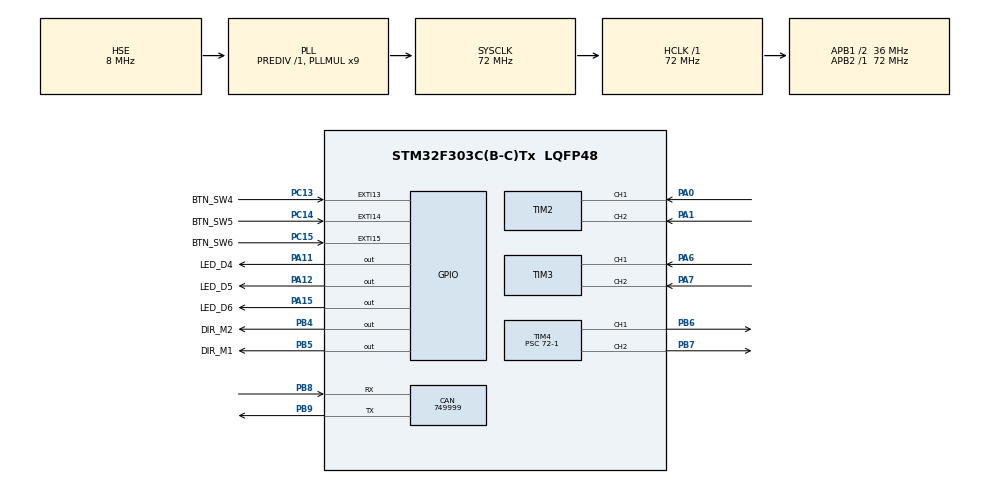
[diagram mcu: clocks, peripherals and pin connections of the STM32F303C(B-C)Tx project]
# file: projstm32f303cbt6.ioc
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CAN.CalculateBaudRate=749999
CAN.CalculateTimeBit=1333
CAN.CalculateTimeQuantum=444.44444444444446
FREERTOS.Mutexes01=mutex_enc,Dynamic,NULL
FREERTOS.Queues01=smsQ_CtrM,16,smsQ_buff_motor,0,Dynamic,NULL,NULL;smsQ_CtrLED,16,smsQ_buff_led,0,Dynamic,NULL,NULL;smsQ_EXTI,16,smsQ_buff_exti,0,Dynamic,NULL,NULL;smsQ_PIDVel,16,smsQ_buff_pid,0,Dynamic,NULL,NULL
FREERTOS.Tasks01=TaskEncoder,40,128,EncoderProcessor,Default,NULL,Dynamic,NULL,NULL;TaskRobotCtr,8,128,RobotCtr_Processor,Default,NULL,Dynamic,NULL,NULL;TaskLED,8,128,LED_Processor,Default,NULL,Dynamic,NULL,NULL;Task_PIDCtr,40,128,PIDCtr_Processor,Default,NULL,Dynamic,NULL,NULL;Task_BtnDebouce,8,128,BtnDebouce_Prc,Default,NULL,Dynamic,NULL,NULL;Task_CANPrs,8,128,CANPrs_Process,Default,NULL,Dynamic,NULL,NULL;Task_ReLog,8,128,ReLog_prs,Default,NULL,Dynamic,NULL,NULL
FREERTOS.configTOTAL_HEAP_SIZE=5500
Mcu.Family=STM32F3
Mcu.Name=STM32F303C(B-C)Tx
Mcu.Package=LQFP48
NVIC.EXTI15_10_IRQn=true\:11\:0\:true\:false\:true\:true\:true\:true\:true
NVIC.PriorityGroup=NVIC_PRIORITYGROUP_4
NVIC.TIM1_TRG_COM_TIM17_IRQn=true\:10\:0\:true\:false\:true\:false\:false\:true\:true
NVIC.TimeBase=TIM1_TRG_COM_TIM17_IRQn
NVIC.TimeBaseIP=TIM17
PA0.Signal=S_TIM2_CH1_ETR
PA1.Signal=S_TIM2_CH2
PA11.GPIO_Label=LED_D4
PA11.Signal=GPIO_Output
PA12.GPIO_Label=LED_D5
PA12.Signal=GPIO_Output
PA13.Mode=Serial_Wire
PA13.Signal=SYS_JTMS-SWDIO
PA14.Mode=Serial_Wire
PA14.Signal=SYS_JTCK-SWCLK
PA15.GPIO_Label=LED_D6
PA15.Signal=GPIO_Output
PA6.Signal=S_TIM3_CH1
PA7.Signal=S_TIM3_CH2
PB4.GPIO_Label=DIR_M2
PB4.Signal=GPIO_Output
PB5.GPIO_Label=DIR_M1
PB5.Signal=GPIO_Output
PB6.Signal=S_TIM4_CH1
PB7.Signal=S_TIM4_CH2
PB8.Mode=CAN_Activate
PB8.Signal=CAN_RX
PB9.Mode=CAN_Activate
PB9.Signal=CAN_TX
PC13.GPIO_Label=BTN_SW4
PC13.Signal=GPXTI13
PC14-OSC32_IN.GPIO_Label=BTN_SW5
PC14-OSC32_IN.Signal=GPXTI14
PC15-OSC32_OUT.GPIO_Label=BTN_SW6
PC15-OSC32_OUT.Signal=GPXTI15
PF0-OSC_IN.Mode=HSE-External-Oscillator
PF0-OSC_IN.Signal=RCC_OSC_IN
PF1-OSC_OUT.Mode=HSE-External-Oscillator
PF1-OSC_OUT.Signal=RCC_OSC_OUT
ProjectManager.HeapSize=0x200
ProjectManager.StackSize=0x400
ProjectManager.TargetToolchain=STM32CubeIDE
RCC.AHBFreq_Value=72000000
RCC.APB1CLKDivider=RCC_HCLK_DIV2
RCC.APB1Freq_Value=36000000
RCC.APB1TimFreq_Value=72000000
RCC.APB2Freq_Value=72000000
RCC.APB2TimFreq_Value=72000000
RCC.CortexFreq_Value=72000000
RCC.HCLKFreq_Value=72000000
RCC.HSE_VALUE=8000000
RCC.HSI_VALUE=8000000
RCC.LSE_VALUE=32768
RCC.PLLMUL=RCC_PLL_MUL9
RCC.PLLSourceVirtual=RCC_PLLSOURCE_HSE
RCC.SYSCLKFreq_VALUE=72000000
RCC.SYSCLKSourceVirtual=RCC_SYSCLKSOURCE_PLLCLK
RCC.USBFreq_Value=72000000
SH.S_TIM2_CH1_ETR.0=TIM2_CH1,Encoder_Interface
SH.S_TIM2_CH2.0=TIM2_CH2,Encoder_Interface
SH.S_TIM3_CH1.0=TIM3_CH1,Encoder_Interface
SH.S_TIM3_CH2.0=TIM3_CH2,Encoder_Interface
SH.S_TIM4_CH1.0=TIM4_CH1,PWM Generation1 CH1
SH.S_TIM4_CH2.0=TIM4_CH2,PWM Generation2 CH2
TIM4.Channel-PWM\ Generation1\ CH1=TIM_CHANNEL_1
TIM4.Channel-PWM\ Generation2\ CH2=TIM_CHANNEL_2
TIM4.Period=1000
TIM4.Prescaler=72-1
VP_FREERTOS_VS_CMSIS_V2.Mode=CMSIS_V2
VP_SYS_VS_tim17.Mode=TIM17
VP_TIM4_VS_ClockSourceINT.Mode=Internal
board=custom

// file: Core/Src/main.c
/* USER CODE BEGIN Header */
/**
  ******************************************************************************
  * @file           : main.c
  * @brief          : Main program body
  ******************************************************************************
  * @attention
  *
  * Copyright (c) 2024 STMicroelectronics.
  * All rights reserved.
  *
  * This software is licensed under terms that can be found in the LICENSE file
  * in the root directory of this software component.
  * If no LICENSE file comes with this software, it is provided AS-IS.
  *
  ******************************************************************************
  */
/* USER CODE END Header */
#include "main.h"
#include "cmsis_os.h"
#include "can.h"
#include "tim.h"
#include "gpio.h"

/* USER CODE BEGIN PV */
extern osMessageQueueId_t smsQ_EXTIHandle;
/* USER CODE END PV */

void SystemClock_Config(void);
void MX_FREERTOS_Init(void);

/* USER CODE BEGIN 0 */
/**
  * @brief    Ngắt nút nhấn để Test động cơ thôi
  * @param
  * @retval
  */
void HAL_GPIO_EXTI_Callback(uint16_t GPIO_Pin)
{

	static uint32_t TimeBegin = 0;
	smsQ_buff_exti smsQ_ctr = {idEXTI, 0,0,0};

	switch (GPIO_Pin) {
		case(BTN_SW4_Pin):
			smsQ_ctr.state_robot = MOTOR_DRIVE_FORWARD;
			smsQ_ctr.speed_right = 80;
			smsQ_ctr.speed_left = 80;
			// led config time
			smsQ_ctr.time_blink_D4 = 10;
			smsQ_ctr.time_blink_D5 = 0;
			smsQ_ctr.time_blink_D6 = 0;
			break;

		case(BTN_SW5_Pin):
			smsQ_ctr.state_robot = MOTOR_DRIVE_FORWARD;
			smsQ_ctr.speed_right = 50;
			smsQ_ctr.speed_left = 50;
			// led config time
			smsQ_ctr.time_blink_D4 = 5;
			smsQ_ctr.time_blink_D5 = 0;
			smsQ_ctr.time_blink_D6 = 0;
			break;

		case(BTN_SW6_Pin):
			smsQ_ctr.state_robot = MOTOR_DRIVE_FORWARD;
			smsQ_ctr.speed_right = 0;
			smsQ_ctr.speed_left = 0;
			// led config time
			smsQ_ctr.time_blink_D4 = 0;
			smsQ_ctr.time_blink_D5 = 0;
			smsQ_ctr.time_blink_D6 = 0;
			break;

		default:
			__NOP();
			break;
	}

	if(osOK != osMessageQueuePut(smsQ_EXTIHandle, &smsQ_ctr , 0, 0))
		__NOP();
	// deboucing button

#if LOI_ENC

	HAL_Delay(70);
	TimeBegin = HAL_GetTick();
	while(	HAL_GPIO_ReadPin(BTN_SW4_GPIO_Port, BTN_SW4_Pin) == GPIO_PIN_RESET || \
			HAL_GPIO_ReadPin(BTN_SW5_GPIO_Port, BTN_SW5_Pin) == GPIO_PIN_RESET || \
			HAL_GPIO_ReadPin(BTN_SW6_GPIO_Port, BTN_SW6_Pin) == GPIO_PIN_RESET){
		if(HAL_GetTick() - TimeBegin == 5000){
//			ButtonError = 1;
			break;
		}
	}
	 HAL_Delay(70);

#endif

	EXTI->PR = BTN_SW4_Pin | BTN_SW5_Pin | BTN_SW6_Pin;
}
/* USER CODE END 0 */

int main(void)
{

  /* MCU Configuration--------------------------------------------------------*/

  /* Reset of all peripherals, Initializes the Flash interface and the Systick. */
  HAL_Init();

  /* Configure the system clock */
  SystemClock_Config();

  /* Initialize all configured peripherals */
  MX_GPIO_Init();
  MX_CAN_Init();
  MX_TIM2_Init();
  MX_TIM3_Init();
  MX_TIM4_Init();

  /* Init scheduler */
  osKernelInitialize();

  /* Call init function for freertos objects (in cmsis_os2.c) */
  MX_FREERTOS_Init();

  /* Start scheduler */
  osKernelStart();

  /* We should never get here as control is now taken by the scheduler */

  /* Infinite loop */
  while (1)
  {

  }
}

void SystemClock_Config(void)
{
  RCC_OscInitTypeDef RCC_OscInitStruct = {0};
  RCC_ClkInitTypeDef RCC_ClkInitStruct = {0};

  /** Initializes the RCC Oscillators according to the specified parameters
  * in the RCC_OscInitTypeDef structure.
  */
  RCC_OscInitStruct.OscillatorType = RCC_OSCILLATORTYPE_HSE;
  RCC_OscInitStruct.HSEState = RCC_HSE_ON;
  RCC_OscInitStruct.HSEPredivValue = RCC_HSE_PREDIV_DIV1;
  RCC_OscInitStruct.HSIState = RCC_HSI_ON;
  RCC_OscInitStruct.PLL.PLLState = RCC_PLL_ON;
  RCC_OscInitStruct.PLL.PLLSource = RCC_PLLSOURCE_HSE;
  RCC_OscInitStruct.PLL.PLLMUL = RCC_PLL_MUL9;
  if (HAL_RCC_OscConfig(&RCC_OscInitStruct) != HAL_OK)
  {
    Error_Handler();
  }

  /** Initializes the CPU, AHB and APB buses clocks
  */
  RCC_ClkInitStruct.ClockType = RCC_CLOCKTYPE_HCLK|RCC_CLOCKTYPE_SYSCLK
                              |RCC_CLOCKTYPE_PCLK1|RCC_CLOCKTYPE_PCLK2;
  RCC_ClkInitStruct.SYSCLKSource = RCC_SYSCLKSOURCE_PLLCLK;
  RCC_ClkInitStruct.AHBCLKDivider = RCC_SYSCLK_DIV1;
  RCC_ClkInitStruct.APB1CLKDivider = RCC_HCLK_DIV2;
  RCC_ClkInitStruct.APB2CLKDivider = RCC_HCLK_DIV1;

  if (HAL_RCC_ClockConfig(&RCC_ClkInitStruct, FLASH_LATENCY_2) != HAL_OK)
  {
    Error_Handler();
  }
}

void HAL_TIM_PeriodElapsedCallback(TIM_HandleTypeDef *htim)
{
  if (htim->Instance == TIM17) {
    HAL_IncTick();
  }
}

void Error_Handler(void)
{
  __disable_irq();
  while (1)
  {
  }
}

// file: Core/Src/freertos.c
/* USER CODE BEGIN Header */
/**
  ******************************************************************************
  * File Name          : freertos.c
  * Description        : Code for freertos applications
  ******************************************************************************
  * @attention
  *
  * Copyright (c) 2024 STMicroelectronics.
  * All rights reserved.
  *
  * This software is licensed under terms that can be found in the LICENSE file
  * in the root directory of this software component.
  * If no LICENSE file comes with this software, it is provided AS-IS.
  *
  ******************************************************************************
  */
/* USER CODE END Header */

#include "FreeRTOS.h"
#include "task.h"
#include "main.h"
#include "cmsis_os.h"

/* Definitions for TaskEncoder */
osThreadId_t TaskEncoderHandle;
const osThreadAttr_t TaskEncoder_attributes = {
  .name = "TaskEncoder",
  .stack_size = 128 * 4,
  .priority = (osPriority_t) osPriorityHigh,
};
/* Definitions for TaskRobotCtr */
osThreadId_t TaskRobotCtrHandle;
const osThreadAttr_t TaskRobotCtr_attributes = {
  .name = "TaskRobotCtr",
  .stack_size = 128 * 4,
  .priority = (osPriority_t) osPriorityLow,
};
/* Definitions for TaskLED */
osThreadId_t TaskLEDHandle;
const osThreadAttr_t TaskLED_attributes = {
  .name = "TaskLED",
  .stack_size = 128 * 4,
  .priority = (osPriority_t) osPriorityLow,
};
/* Definitions for Task_PIDCtr */
osThreadId_t Task_PIDCtrHandle;
const osThreadAttr_t Task_PIDCtr_attributes = {
  .name = "Task_PIDCtr",
  .stack_size = 128 * 4,
  .priority = (osPriority_t) osPriorityHigh,
};
/* Definitions for Task_BtnDebouce */
osThreadId_t Task_BtnDebouceHandle;
const osThreadAttr_t Task_BtnDebouce_attributes = {
  .name = "Task_BtnDebouce",
  .stack_size = 128 * 4,
  .priority = (osPriority_t) osPriorityLow,
};
/* Definitions for Task_CANPrs */
osThreadId_t Task_CANPrsHandle;
const osThreadAttr_t Task_CANPrs_attributes = {
  .name = "Task_CANPrs",
  .stack_size = 128 * 4,
  .priority = (osPriority_t) osPriorityLow,
};
/* Definitions for Task_ReLog */
osThreadId_t Task_ReLogHandle;
const osThreadAttr_t Task_ReLog_attributes = {
  .name = "Task_ReLog",
  .stack_size = 128 * 4,
  .priority = (osPriority_t) osPriorityLow,
};
/* Definitions for smsQ_CtrM */
osMessageQueueId_t smsQ_CtrMHandle;
const osMessageQueueAttr_t smsQ_CtrM_attributes = {
  .name = "smsQ_CtrM"
};
/* Definitions for smsQ_CtrLED */
osMessageQueueId_t smsQ_CtrLEDHandle;
const osMessageQueueAttr_t smsQ_CtrLED_attributes = {
  .name = "smsQ_CtrLED"
};
/* Definitions for smsQ_EXTI */
osMessageQueueId_t smsQ_EXTIHandle;
const osMessageQueueAttr_t smsQ_EXTI_attributes = {
  .name = "smsQ_EXTI"
};
/* Definitions for smsQ_PIDVel */
osMessageQueueId_t smsQ_PIDVelHandle;
const osMessageQueueAttr_t smsQ_PIDVel_attributes = {
  .name = "smsQ_PIDVel"
};
/* Definitions for mutex_enc */
osMutexId_t mutex_encHandle;
const osMutexAttr_t mutex_enc_attributes = {
  .name = "mutex_enc"
};

void EncoderProcessor(void *argument);
void RobotCtr_Processor(void *argument);
void LED_Processor(void *argument);
void PIDCtr_Processor(void *argument);
void BtnDebouce_Prc(void *argument);
void CANPrs_Process(void *argument);
void ReLog_prs(void *argument);

void MX_FREERTOS_Init(void); /* (MISRA C 2004 rule 8.1) */

void MX_FREERTOS_Init(void) {
  /* Create the mutex(es) */
  /* creation of mutex_enc */
  mutex_encHandle = osMutexNew(&mutex_enc_attributes);

  /* Create the queue(s) */
  /* creation of smsQ_CtrM */
  smsQ_CtrMHandle = osMessageQueueNew (16, sizeof(smsQ_buff_motor), &smsQ_CtrM_attributes);

  /* creation of smsQ_CtrLED */
  smsQ_CtrLEDHandle = osMessageQueueNew (16, sizeof(smsQ_buff_led), &smsQ_CtrLED_attributes);

  /* creation of smsQ_EXTI */
  smsQ_EXTIHandle = osMessageQueueNew (16, sizeof(smsQ_buff_exti), &smsQ_EXTI_attributes);

  /* creation of smsQ_PIDVel */
  smsQ_PIDVelHandle = osMessageQueueNew (16, sizeof(smsQ_buff_pid), &smsQ_PIDVel_attributes);

  /* Create the thread(s) */
  /* creation of TaskEncoder */
  TaskEncoderHandle = osThreadNew(EncoderProcessor, NULL, &TaskEncoder_attributes);

  /* creation of TaskRobotCtr */
  TaskRobotCtrHandle = osThreadNew(RobotCtr_Processor, NULL, &TaskRobotCtr_attributes);

  /* creation of TaskLED */
  TaskLEDHandle = osThreadNew(LED_Processor, NULL, &TaskLED_attributes);

  /* creation of Task_PIDCtr */
  Task_PIDCtrHandle = osThreadNew(PIDCtr_Processor, NULL, &Task_PIDCtr_attributes);

  /* creation of Task_BtnDebouce */
  Task_BtnDebouceHandle = osThreadNew(BtnDebouce_Prc, NULL, &Task_BtnDebouce_attributes);

  /* creation of Task_CANPrs */
  Task_CANPrsHandle = osThreadNew(CANPrs_Process, NULL, &Task_CANPrs_attributes);

  /* creation of Task_ReLog */
  Task_ReLogHandle = osThreadNew(ReLog_prs, NULL, &Task_ReLog_attributes);

}

/* USER CODE BEGIN Header_EncoderProcessor */
#if CODE
/**
  * @brief  Function implementing the TaskEncoder thread.
  * @param  argument: Not used
  * @retval None
  */
/* USER CODE END Header_EncoderProcessor */
void EncoderProcessor(void *argument)
{
  /* USER CODE BEGIN EncoderProcessor */
  /* Infinite loop */
  for(;;)
  {
	HAL_GPIO_TogglePin(GPIOA, GPIO_PIN_12);
	osDelay(1000);
	HAL_GPIO_TogglePin(GPIOA, GPIO_PIN_15);
	osDelay(1000);
	HAL_GPIO_TogglePin(GPIOA, GPIO_PIN_11);
	osDelay(1000);
  }
  /* USER CODE END EncoderProcessor */
}

void RobotCtr_Processor(void *argument)
{
  for(;;)
  {
    osDelay(1);
  }
}

void LED_Processor(void *argument)
{
  for(;;)
  {
    osDelay(1);
  }
}

void PIDCtr_Processor(void *argument)
{
  for(;;)
  {
    osDelay(1);
  }
}

void BtnDebouce_Prc(void *argument)
{
  for(;;)
  {
    osDelay(1);
  }
}

void CANPrs_Process(void *argument)
{
  for(;;)
  {
    osDelay(1);
  }
}

void ReLog_prs(void *argument)
{
  for(;;)
  {
    osDelay(1);
  }
}

/* USER CODE BEGIN Application */
#endif
/* USER CODE END Application */
